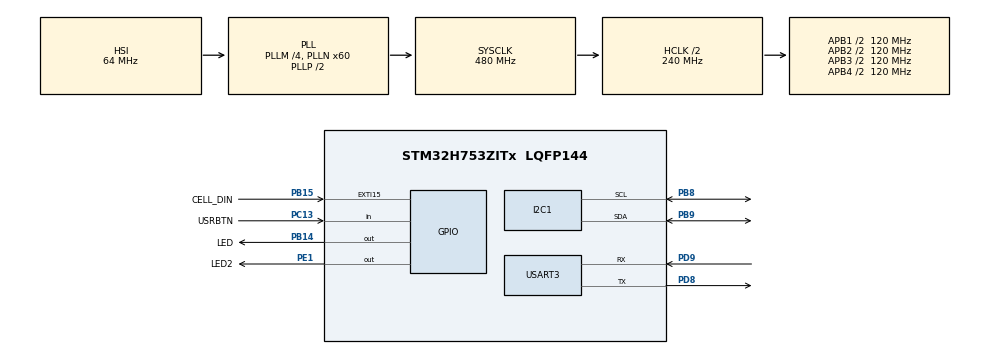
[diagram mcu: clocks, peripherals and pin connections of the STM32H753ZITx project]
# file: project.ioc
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CORTEX_M7.default_mode_Activation=1
I2C1.Timing=0x307075B1
Mcu.Family=STM32H7
Mcu.Name=STM32H753ZITx
Mcu.Package=LQFP144
NVIC.EXTI15_10_IRQn=true\:0\:0\:false\:false\:true\:true\:true\:true
NVIC.PriorityGroup=NVIC_PRIORITYGROUP_4
PA13\ (JTMS/SWDIO).Mode=Serial_Wire
PA13\ (JTMS/SWDIO).Signal=DEBUG_JTMS-SWDIO
PA14\ (JTCK/SWCLK).Mode=Serial_Wire
PA14\ (JTCK/SWCLK).Signal=DEBUG_JTCK-SWCLK
PB14.GPIO_Label=LED
PB14.Signal=GPIO_Output
PB15.GPIO_Label=CELL_DIN
PB15.GPIO_ModeDefaultEXTI=GPIO_MODE_IT_FALLING
PB15.Signal=GPXTI15
PB8.Mode=I2C
PB8.Signal=I2C1_SCL
PB9.Mode=I2C
PB9.Signal=I2C1_SDA
PC13.GPIO_Label=USRBTN
PC13.Signal=GPIO_Input
PD8.Mode=Asynchronous
PD8.Signal=USART3_TX
PD9.Mode=Asynchronous
PD9.Signal=USART3_RX
PE1.GPIO_Label=LED2
PE1.Signal=GPIO_Output
ProjectManager.HeapSize=0x200
ProjectManager.StackSize=0x400
ProjectManager.TargetToolchain=CMake
RCC.ADCFreq_Value=129000000
RCC.APB1Freq_Value=120000000
RCC.APB2Freq_Value=120000000
RCC.APB3Freq_Value=120000000
RCC.APB4Freq_Value=120000000
RCC.CortexFreq_Value=480000000
RCC.D1PPRE=RCC_APB3_DIV2
RCC.D2PPRE1=RCC_APB1_DIV2
RCC.D2PPRE2=RCC_APB2_DIV2
RCC.D3PPRE=RCC_APB4_DIV2
RCC.DIVM1=4
RCC.DIVN1=60
RCC.HCLKFreq_Value=240000000
RCC.HPRE=RCC_HCLK_DIV2
RCC.SYSCLKFreq_VALUE=480000000
RCC.SYSCLKSource=RCC_SYSCLKSOURCE_PLLCLK
RCC.USBFreq_Value=480000000
USART3.SwapParam=ADVFEATURE_SWAP_DISABLE
USART3.VirtualMode-Asynchronous=VM_ASYNC
VP_MEMORYMAP_VS_MEMORYMAP.Mode=CurAppReg
board=custom

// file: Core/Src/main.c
/* USER CODE BEGIN Header */
/**
 ******************************************************************************
 * @file           : main.c
 * @brief          : Main program body
 ******************************************************************************
 * @attention
 *
 * Copyright (c) 2026 STMicroelectronics.
 * All rights reserved.
 *
 * This software is licensed under terms that can be found in the LICENSE file
 * in the root directory of this software component.
 * If no LICENSE file comes with this software, it is provided AS-IS.
 *
 ******************************************************************************
 */
/* USER CODE END Header */
#include "main.h"

/* USER CODE BEGIN Includes */
#include <stdio.h>
#include "stm32h7xx_hal_tim.h"
#include "stm32h7xx_ll_exti.h"
/* USER CODE END Includes */

I2C_HandleTypeDef hi2c1;

UART_HandleTypeDef huart3;

void SystemClock_Config(void);
static void MPU_Config(void);
static void MX_GPIO_Init(void);
static void MX_USART3_UART_Init(void);
static void MX_I2C1_Init(void);

/* USER CODE BEGIN 0 */
int _write(int file, char* ptr, int len) {
    HAL_UART_Transmit(&huart3, ptr, len, HAL_MAX_DELAY);
    return len;
}

void regVersion(void) {
    MX_USART3_UART_Init();

    __HAL_RCC_GPIOB_CLK_ENABLE();
    __HAL_RCC_GPIOC_CLK_ENABLE();
    __HAL_RCC_GPIOE_CLK_ENABLE();

    uint32_t moder = GPIOB->MODER;
    moder &= ~(1 << 29);
    moder |= 1 << 28;
    GPIOB->MODER = moder;

    moder = GPIOC->MODER;
    moder &= ~(1 << 27);
    moder &= ~(1 << 26);
    GPIOC->MODER = moder;

    moder = GPIOE->MODER;
    moder &= ~(1 << 3);
    moder |= 1 << 2;
    GPIOE->MODER = moder;

    uint32_t lastTime = 0;
    int lastState = 0;

    while(1) {
        if(HAL_GetTick() - lastTime > 1000) {
            lastTime = HAL_GetTick();
            if(lastState) GPIOB->ODR |= 1 << 14;
            else GPIOB->ODR &= ~(1 << 14);
            lastState = !lastState;

            printf("Hello World\n");
        }

        if(GPIOC->IDR & (1 << 13)) GPIOE->ODR |= 1 << 1;
        else GPIOE->ODR &= ~(1 << 1);
    }
}

const uint8_t MCPADD = 0x60 << 1;
const uint8_t MCP_T_HOT = 0x00;
const uint8_t MCP_CONF = 0x06;
const uint8_t MCP_CONF_VAL = 0x20;
const uint8_t MCP_REV = 0x20;
const uint8_t MCP_REV_VALUE = 0x40;

int setupMCP(void) {
    // Check that its responding
    HAL_StatusTypeDef t;
    if((t = HAL_I2C_IsDeviceReady(&hi2c1, MCPADD, 3, 100)) != HAL_OK) {
        printf("Could not initialize MCP: %d\n", t);
        return 1;
    }

    // Validate the value of the revision register
    uint8_t data;
    HAL_I2C_Mem_Read(&hi2c1, MCPADD, MCP_REV, I2C_MEMADD_SIZE_8BIT, &data, 1, 100);

    if(data != MCP_REV_VALUE) {
        printf("MCP returned wrong revision: %d\n", data);
        return 2;
    }

    // Write the correct value for the thermocouple type we are using into the configuration register
    data = MCP_CONF_VAL;
    HAL_I2C_Mem_Write(&hi2c1, MCPADD, MCP_CONF, I2C_MEMADD_SIZE_8BIT, &data, 1, 100);

    return 0;
}

float getMCPValue(void) {
    uint8_t data[2];
    HAL_I2C_Mem_Read(&hi2c1, MCPADD, MCP_T_HOT, I2C_MEMADD_SIZE_8BIT, data, 2, 10);
    int16_t raw = (int16_t) ((data[0] << 8) | data[1]);
    float reading = ((float) (raw / 16)) + 0.0625f * ((float) (raw % 16));
    return reading;
}

// Load Cell Code
TIM_TypeDef* const timer = TIM8;
const uint32_t TIMCHANNEL = TIM_CHANNEL_1;
GPIO_TypeDef* const clkport = GPIOC;
uint16_t const clkpin = GPIO_PIN_6;
volatile GPIO_TypeDef* const dinport = CELL_DIN_GPIO_Port;
uint16_t const dinpin = CELL_DIN_Pin;

uint32_t inProgressReading = 0;
uint32_t mask = 0;

float offset = 0;
const float scale = 0.0001532810009f;

volatile float latestReading = 0;

void setupCell(void) {
    __HAL_RCC_GPIOB_CLK_ENABLE();
    __HAL_RCC_GPIOC_CLK_ENABLE();
    __HAL_RCC_TIM8_CLK_ENABLE();

    // Set up the clock pin to be connected to the timer
    HAL_GPIO_DeInit(clkport, clkpin);
    GPIO_InitTypeDef init;
    init.Pin = clkpin;
    init.Mode = GPIO_MODE_AF_PP;
    init.Pull = GPIO_NOPULL;
    init.Alternate = GPIO_AF3_TIM8;
    HAL_GPIO_Init(clkport, &init);

    // Disable timer
    timer->CR1 &= ~TIM_CR1_CEN;

    // Clears:
    // - ARPE: We do not want ARR preloading, we want to be able to load directly into the registers
    // - CMS: Put counter in up/down counting mode
    // - DIR: Put counter in upcounting mode
    // - Sets OPM: Counter stops after an update event (which occurs after RCR overflows of CNT)
    timer->CR1 &= ~(TIM_CR1_ARPE | TIM_CR1_CMS | TIM_CR1_DIR);
    timer->CR1 |= TIM_CR1_OPM;

    // Results in a timer clock of 10MHz (t=0.1micros)
    timer->PSC = (240000000 / 10000000) - 1;

    // 20 * 0.1micros = 2micro period (t3 + t4 in datasheet)
    timer->ARR = 20;

    // We need 25 pulses, so RCR = 25-1
    timer->RCR = 24;

    // Reset counter
    timer->CNT = 0;

    // Enable the master output
    timer->BDTR |= TIM_BDTR_MOE;

    // Set counting mode to PWM
    timer->CCMR1 |= TIM_CCMR1_OC1M_1 | TIM_CCMR1_OC1M_2;

    // Set CCR to half of ARR, for 50% duty cycle
    timer->CCR1 = 10;

    // Set CCR2 as the time to actually read the GPIO data. The reading is triggered via a interrupt
    timer->CCR2 = 20;

    // Enable capture/compare and set polarity to make output normally low
    timer->CCER |= TIM_CCER_CC1E | TIM_CCER_CC1P | TIM_CCER_CC2E;

    // Cause an update so that all the fun stuff gets written to the shadow registers
    timer->EGR |= TIM_EGR_UG;

    // Enable capture interrupts
    timer->DIER |= TIM_DIER_UIE | TIM_DIER_CC2IE;

    // Enable capture interrupt
    HAL_NVIC_SetPriority(TIM8_CC_IRQn, 0, 0);
    HAL_NVIC_EnableIRQ(TIM8_CC_IRQn);

    // Enable Update interrupt
    HAL_NVIC_SetPriority(TIM8_UP_TIM13_IRQn, 0, 0);
    HAL_NVIC_EnableIRQ(TIM8_UP_TIM13_IRQn);
    LL_EXTI_EnableIT_0_31(dinpin);
}

// This interrupt is fired when the DIN line transitions from HIGH to LOW
extern void DIN_IRQ(void) {
    // Check this is actually the intererupt we're looking for
    HAL_GPIO_WritePin(LED2_GPIO_Port, LED2_Pin, GPIO_PIN_SET);
    if(__HAL_GPIO_EXTI_GET_IT(dinpin)) {
        // Acknowledge the interrupt so it doesn't re-trigger
        __HAL_GPIO_EXTI_CLEAR_IT(dinpin);

        // Disable the interrupt for now, since we dont want extra interrupts triggering when we read data
        LL_EXTI_DisableIT_0_31(dinpin);

        // Set up the variables for tracking the input
        inProgressReading = 0;
        timer->CNT = 0;
        mask = 0x00800000;

        // Start the timer
        timer->CR1 |= TIM_CR1_CEN;
    }
}

// This fires in the middle of each clock pulse
extern void CC_IRQ(void) {
    // Acknowledge the interrupt
    timer->SR &= ~TIM_SR_CC2IF;

    // If we still have bits left to read (we will have one extra clock pulse per datasheet)
    if(mask > 0) {
        // If the din-pin is set high, we read in a 1
        if(dinport->IDR & dinpin) inProgressReading |= mask;

        // Proceed to the next bit position
        mask >>= 1;
    }
}

// This fires at the end of the 25 pulses
extern void UPDATE_IRQ(void) {
    // Acknowledge
    timer->SR &= ~TIM_SR_UIF;

    // Convert raw data to the final reading
    if(inProgressReading & 0x00800000) inProgressReading += 0xFF000000;
    int32_t rawReading = (int32_t) inProgressReading;
    latestReading = (((float) rawReading) * scale) + offset;

    // Re-enable din interrupts for the next conversion
    LL_EXTI_EnableIT_0_31(dinpin);
}

/* USER CODE END 0 */

int main(void) {

    /* MPU Configuration--------------------------------------------------------*/
    MPU_Config();

    /* MCU Configuration--------------------------------------------------------*/

    /* Reset of all peripherals, Initializes the Flash interface and the Systick. */
    HAL_Init();

    /* Configure the system clock */
    SystemClock_Config();

    /* USER CODE BEGIN SysInit */

    // Uncomment this function to run the register-direct based prorgam instead
    // regVersion();

    /* USER CODE END SysInit */

    /* Initialize all configured peripherals */
    MX_GPIO_Init();
    MX_USART3_UART_Init();
    MX_I2C1_Init();
    /* USER CODE BEGIN 2 */

    int mcpstat = setupMCP();
    setupCell();

    uint32_t lastTime = 0;
    /* USER CODE END 2 */

    /* Infinite loop */
    /* USER CODE BEGIN WHILE */
    while(1) {
        if(HAL_GetTick() - lastTime > 1000) {
            lastTime = HAL_GetTick();
            HAL_GPIO_TogglePin(LED_GPIO_Port, LED_Pin);
            printf("Hello World!\n");

            if(mcpstat == 0) {
                float value = getMCPValue();
                printf("Read temperature: %f C\n", value);
            }

            printf("Load Cell weight: %fkg\n", latestReading);
            printf("raw: %ld\n", inProgressReading);
        }

        if(HAL_GPIO_ReadPin(USRBTN_GPIO_Port, USRBTN_Pin) == GPIO_PIN_SET) {
            HAL_GPIO_WritePin(LED2_GPIO_Port, LED2_Pin, GPIO_PIN_SET);
            offset -= latestReading;
            latestReading = 0;
        }
        else HAL_GPIO_WritePin(LED2_GPIO_Port, LED2_Pin, GPIO_PIN_RESET);
        /* USER CODE END WHILE */

    }
}

void SystemClock_Config(void) {
    RCC_OscInitTypeDef RCC_OscInitStruct = {0};
    RCC_ClkInitTypeDef RCC_ClkInitStruct = {0};

    /** Supply configuration update enable
     */
    HAL_PWREx_ConfigSupply(PWR_LDO_SUPPLY);

    /** Configure the main internal regulator output voltage
     */
    __HAL_PWR_VOLTAGESCALING_CONFIG(PWR_REGULATOR_VOLTAGE_SCALE0);

    while(!__HAL_PWR_GET_FLAG(PWR_FLAG_VOSRDY)) {}

    /** Initializes the RCC Oscillators according to the specified parameters
     * in the RCC_OscInitTypeDef structure.
     */
    RCC_OscInitStruct.OscillatorType = RCC_OSCILLATORTYPE_HSI;
    RCC_OscInitStruct.HSIState = RCC_HSI_DIV1;
    RCC_OscInitStruct.HSICalibrationValue = RCC_HSICALIBRATION_DEFAULT;
    RCC_OscInitStruct.PLL.PLLState = RCC_PLL_ON;
    RCC_OscInitStruct.PLL.PLLSource = RCC_PLLSOURCE_HSI;
    RCC_OscInitStruct.PLL.PLLM = 4;
    RCC_OscInitStruct.PLL.PLLN = 60;
    RCC_OscInitStruct.PLL.PLLP = 2;
    RCC_OscInitStruct.PLL.PLLQ = 2;
    RCC_OscInitStruct.PLL.PLLR = 2;
    RCC_OscInitStruct.PLL.PLLRGE = RCC_PLL1VCIRANGE_3;
    RCC_OscInitStruct.PLL.PLLVCOSEL = RCC_PLL1VCOWIDE;
    RCC_OscInitStruct.PLL.PLLFRACN = 0;
    if(HAL_RCC_OscConfig(&RCC_OscInitStruct) != HAL_OK) {
        Error_Handler();
    }

    /** Initializes the CPU, AHB and APB buses clocks
     */
    RCC_ClkInitStruct.ClockType = RCC_CLOCKTYPE_HCLK | RCC_CLOCKTYPE_SYSCLK | RCC_CLOCKTYPE_PCLK1 |
        RCC_CLOCKTYPE_PCLK2 | RCC_CLOCKTYPE_D3PCLK1 | RCC_CLOCKTYPE_D1PCLK1;
    RCC_ClkInitStruct.SYSCLKSource = RCC_SYSCLKSOURCE_PLLCLK;
    RCC_ClkInitStruct.SYSCLKDivider = RCC_SYSCLK_DIV1;
    RCC_ClkInitStruct.AHBCLKDivider = RCC_HCLK_DIV2;
    RCC_ClkInitStruct.APB3CLKDivider = RCC_APB3_DIV2;
    RCC_ClkInitStruct.APB1CLKDivider = RCC_APB1_DIV2;
    RCC_ClkInitStruct.APB2CLKDivider = RCC_APB2_DIV2;
    RCC_ClkInitStruct.APB4CLKDivider = RCC_APB4_DIV2;

    if(HAL_RCC_ClockConfig(&RCC_ClkInitStruct, FLASH_LATENCY_4) != HAL_OK) {
        Error_Handler();
    }
}

static void MX_I2C1_Init(void) {

    hi2c1.Instance = I2C1;
    hi2c1.Init.Timing = 0x307075B1;
    hi2c1.Init.OwnAddress1 = 0;
    hi2c1.Init.AddressingMode = I2C_ADDRESSINGMODE_7BIT;
    hi2c1.Init.DualAddressMode = I2C_DUALADDRESS_DISABLE;
    hi2c1.Init.OwnAddress2 = 0;
    hi2c1.Init.OwnAddress2Masks = I2C_OA2_NOMASK;
    hi2c1.Init.GeneralCallMode = I2C_GENERALCALL_DISABLE;
    hi2c1.Init.NoStretchMode = I2C_NOSTRETCH_DISABLE;
    if(HAL_I2C_Init(&hi2c1) != HAL_OK) {
        Error_Handler();
    }

    /** Configure Analogue filter
     */
    if(HAL_I2CEx_ConfigAnalogFilter(&hi2c1, I2C_ANALOGFILTER_ENABLE) != HAL_OK) {
        Error_Handler();
    }

    /** Configure Digital filter
     */
    if(HAL_I2CEx_ConfigDigitalFilter(&hi2c1, 0) != HAL_OK) {
        Error_Handler();
    }
}

static void MX_USART3_UART_Init(void) {

    huart3.Instance = USART3;
    huart3.Init.BaudRate = 115200;
    huart3.Init.WordLength = UART_WORDLENGTH_8B;
    huart3.Init.StopBits = UART_STOPBITS_1;
    huart3.Init.Parity = UART_PARITY_NONE;
    huart3.Init.Mode = UART_MODE_TX_RX;
    huart3.Init.HwFlowCtl = UART_HWCONTROL_NONE;
    huart3.Init.OverSampling = UART_OVERSAMPLING_16;
    huart3.Init.OneBitSampling = UART_ONE_BIT_SAMPLE_DISABLE;
    huart3.Init.ClockPrescaler = UART_PRESCALER_DIV1;
    huart3.AdvancedInit.AdvFeatureInit = UART_ADVFEATURE_NO_INIT;
    if(HAL_UART_Init(&huart3) != HAL_OK) {
        Error_Handler();
    }
    if(HAL_UARTEx_SetTxFifoThreshold(&huart3, UART_TXFIFO_THRESHOLD_1_8) != HAL_OK) {
        Error_Handler();
    }
    if(HAL_UARTEx_SetRxFifoThreshold(&huart3, UART_RXFIFO_THRESHOLD_1_8) != HAL_OK) {
        Error_Handler();
    }
    if(HAL_UARTEx_DisableFifoMode(&huart3) != HAL_OK) {
        Error_Handler();
    }
}

static void MX_GPIO_Init(void) {
    GPIO_InitTypeDef GPIO_InitStruct = {0};

    /* GPIO Ports Clock Enable */
    __HAL_RCC_GPIOC_CLK_ENABLE();
    __HAL_RCC_GPIOB_CLK_ENABLE();
    __HAL_RCC_GPIOD_CLK_ENABLE();
    __HAL_RCC_GPIOA_CLK_ENABLE();
    __HAL_RCC_GPIOE_CLK_ENABLE();

    /*Configure GPIO pin Output Level */
    HAL_GPIO_WritePin(LED_GPIO_Port, LED_Pin, GPIO_PIN_RESET);

    /*Configure GPIO pin Output Level */
    HAL_GPIO_WritePin(LED2_GPIO_Port, LED2_Pin, GPIO_PIN_RESET);

    /*Configure GPIO pin : USRBTN_Pin */
    GPIO_InitStruct.Pin = USRBTN_Pin;
    GPIO_InitStruct.Mode = GPIO_MODE_INPUT;
    GPIO_InitStruct.Pull = GPIO_NOPULL;
    HAL_GPIO_Init(USRBTN_GPIO_Port, &GPIO_InitStruct);

    /*Configure GPIO pin : LED_Pin */
    GPIO_InitStruct.Pin = LED_Pin;
    GPIO_InitStruct.Mode = GPIO_MODE_OUTPUT_PP;
    GPIO_InitStruct.Pull = GPIO_NOPULL;
    GPIO_InitStruct.Speed = GPIO_SPEED_FREQ_LOW;
    HAL_GPIO_Init(LED_GPIO_Port, &GPIO_InitStruct);

    /*Configure GPIO pin : CELL_DIN_Pin */
    GPIO_InitStruct.Pin = CELL_DIN_Pin;
    GPIO_InitStruct.Mode = GPIO_MODE_IT_FALLING;
    GPIO_InitStruct.Pull = GPIO_NOPULL;
    HAL_GPIO_Init(CELL_DIN_GPIO_Port, &GPIO_InitStruct);

    /*Configure GPIO pin : LED2_Pin */
    GPIO_InitStruct.Pin = LED2_Pin;
    GPIO_InitStruct.Mode = GPIO_MODE_OUTPUT_PP;
    GPIO_InitStruct.Pull = GPIO_NOPULL;
    GPIO_InitStruct.Speed = GPIO_SPEED_FREQ_LOW;
    HAL_GPIO_Init(LED2_GPIO_Port, &GPIO_InitStruct);

    /* EXTI interrupt init*/
    HAL_NVIC_SetPriority(CELL_DIN_EXTI_IRQn, 0, 0);
    HAL_NVIC_EnableIRQ(CELL_DIN_EXTI_IRQn);

}

/* MPU Configuration */

void MPU_Config(void) {
    MPU_Region_InitTypeDef MPU_InitStruct = {0};

    /* Disables the MPU */
    HAL_MPU_Disable();

    /** Initializes and configures the Region and the memory to be protected
     */
    MPU_InitStruct.Enable = MPU_REGION_ENABLE;
    MPU_InitStruct.Number = MPU_REGION_NUMBER0;
    MPU_InitStruct.BaseAddress = 0x0;
    MPU_InitStruct.Size = MPU_REGION_SIZE_4GB;
    MPU_InitStruct.SubRegionDisable = 0x87;
    MPU_InitStruct.TypeExtField = MPU_TEX_LEVEL0;
    MPU_InitStruct.AccessPermission = MPU_REGION_NO_ACCESS;
    MPU_InitStruct.DisableExec = MPU_INSTRUCTION_ACCESS_DISABLE;
    MPU_InitStruct.IsShareable = MPU_ACCESS_SHAREABLE;
    MPU_InitStruct.IsCacheable = MPU_ACCESS_NOT_CACHEABLE;
    MPU_InitStruct.IsBufferable = MPU_ACCESS_NOT_BUFFERABLE;

    HAL_MPU_ConfigRegion(&MPU_InitStruct);
    /* Enables the MPU */
    HAL_MPU_Enable(MPU_PRIVILEGED_DEFAULT);
}

void Error_Handler(void) {
    __disable_irq();
    while(1) {}
}
